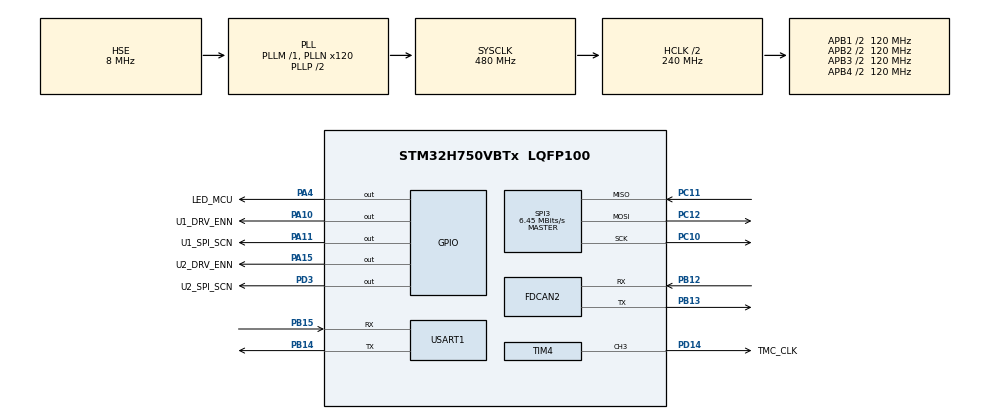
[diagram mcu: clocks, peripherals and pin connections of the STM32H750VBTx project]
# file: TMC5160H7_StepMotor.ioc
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CORTEX_M7.default_mode_Activation=1
FDCAN2.AutoRetransmission=ENABLE
FDCAN2.CalculateBaudRateNominal=500000
FDCAN2.CalculateTimeBitNominal=2000
FDCAN2.CalculateTimeQuantumNominal=125.0
FDCAN2.NominalPrescaler=1
FDCAN2.NominalTimeSeg1=13
FDCAN2.NominalTimeSeg2=2
Mcu.Family=STM32H7
Mcu.Name=STM32H750VBTx
Mcu.Package=LQFP100
NVIC.PriorityGroup=NVIC_PRIORITYGROUP_4
PA10.GPIO_Label=U1_DRV_ENN
PA10.GPIO_Speed=GPIO_SPEED_FREQ_HIGH
PA10.PinState=GPIO_PIN_SET
PA10.Signal=GPIO_Output
PA11.GPIO_Label=U1_SPI_SCN
PA11.GPIO_Speed=GPIO_SPEED_FREQ_HIGH
PA11.PinState=GPIO_PIN_SET
PA11.Signal=GPIO_Output
PA13\ (JTMS/SWDIO).Mode=Serial_Wire
PA13\ (JTMS/SWDIO).Signal=DEBUG_JTMS-SWDIO
PA14\ (JTCK/SWCLK).Mode=Serial_Wire
PA14\ (JTCK/SWCLK).Signal=DEBUG_JTCK-SWCLK
PA15\ (JTDI).GPIO_Label=U2_DRV_ENN
PA15\ (JTDI).GPIO_Speed=GPIO_SPEED_FREQ_HIGH
PA15\ (JTDI).PinState=GPIO_PIN_SET
PA15\ (JTDI).Signal=GPIO_Output
PA4.GPIO_Label=LED_MCU
PA4.PinState=GPIO_PIN_SET
PA4.Signal=GPIO_Output
PB12.Mode=FDCAN_Activate
PB12.Signal=FDCAN2_RX
PB13.Mode=FDCAN_Activate
PB13.Signal=FDCAN2_TX
PB14.Mode=Asynchronous
PB14.Signal=USART1_TX
PB15.Mode=Asynchronous
PB15.Signal=USART1_RX
PC10.Mode=Full_Duplex_Master
PC10.Signal=SPI3_SCK
PC11.Mode=Full_Duplex_Master
PC11.Signal=SPI3_MISO
PC12.Mode=Full_Duplex_Master
PC12.Signal=SPI3_MOSI
PD14.GPIO_Label=TMC_CLK
PD14.GPIO_Speed=GPIO_SPEED_FREQ_VERY_HIGH
PD14.Signal=S_TIM4_CH3
PD3.GPIO_Label=U2_SPI_SCN
PD3.GPIO_Speed=GPIO_SPEED_FREQ_HIGH
PD3.PinState=GPIO_PIN_SET
PD3.Signal=GPIO_Output
PH0-OSC_IN\ (PH0).Mode=HSE-External-Oscillator
PH0-OSC_IN\ (PH0).Signal=RCC_OSC_IN
PH1-OSC_OUT\ (PH1).Mode=HSE-External-Oscillator
PH1-OSC_OUT\ (PH1).Signal=RCC_OSC_OUT
ProjectManager.HeapSize=0x200
ProjectManager.StackSize=0x400
ProjectManager.TargetToolchain=CMake
RCC.ADCFreq_Value=16125000
RCC.APB1Freq_Value=120000000
RCC.APB2Freq_Value=120000000
RCC.APB3Freq_Value=120000000
RCC.APB4Freq_Value=120000000
RCC.CortexFreq_Value=480000000
RCC.D1PPRE=RCC_APB3_DIV2
RCC.D2PPRE1=RCC_APB1_DIV2
RCC.D2PPRE2=RCC_APB2_DIV2
RCC.D3PPRE=RCC_APB4_DIV2
RCC.DIVM1=1
RCC.DIVM3=5
RCC.DIVN1=120
RCC.FDCANCLockSelection=RCC_FDCANCLKSOURCE_HSE
RCC.HCLKFreq_Value=240000000
RCC.HPRE=RCC_HCLK_DIV2
RCC.HSE_VALUE=8000000
RCC.PLL2FRACN=0
RCC.PLL3FRACN=0
RCC.PLLFRACN=0
RCC.PLLSourceVirtual=RCC_PLLSOURCE_HSE
RCC.PWR_Regulator_Voltage_Scale=PWR_REGULATOR_VOLTAGE_SCALE0
RCC.SPI123CLockSelection=RCC_SPI123CLKSOURCE_PLL3
RCC.SYSCLKFreq_VALUE=480000000
RCC.SYSCLKSource=RCC_SYSCLKSOURCE_PLLCLK
RCC.USART16CLockSelection=RCC_USART16CLKSOURCE_HSI
RCC.USBFreq_Value=480000000
SH.S_TIM4_CH3.0=TIM4_CH3,PWM Generation3 CH3
SPI3.BaudRatePrescaler=SPI_BAUDRATEPRESCALER_16
SPI3.CLKPhase=SPI_PHASE_2EDGE
SPI3.CLKPolarity=SPI_POLARITY_HIGH
SPI3.CalculateBaudRate=6.45 MBits/s
SPI3.DataSize=SPI_DATASIZE_8BIT
SPI3.Direction=SPI_DIRECTION_2LINES
SPI3.Mode=SPI_MODE_MASTER
SPI3.VirtualType=VM_MASTER
TIM4.Channel-PWM\ Generation3\ CH3=TIM_CHANNEL_3
TIM4.Period=15
TIM4.Prescaler=0
TIM4.Pulse-PWM\ Generation3\ CH3=8
USART1.VirtualMode-Asynchronous=VM_ASYNC
VP_MEMORYMAP_VS_MEMORYMAP.Mode=CurAppReg
VP_TIM4_VS_ClockSourceINT.Mode=Internal
board=custom

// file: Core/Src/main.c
/* USER CODE BEGIN Header */
/**
  ******************************************************************************
  * @file           : main.c
  * @brief          : Main program body
  ******************************************************************************
  * @attention
  *
  * Copyright (c) 2026 STMicroelectronics.
  * All rights reserved.
  *
  * This software is licensed under terms that can be found in the LICENSE file
  * in the root directory of this software component.
  * If no LICENSE file comes with this software, it is provided AS-IS.
  *
  ******************************************************************************
  */
/* USER CODE END Header */
#include "main.h"
#include "fdcan.h"
#include "spi.h"
#include "tim.h"
#include "usart.h"
#include "gpio.h"

/* USER CODE BEGIN Includes */
#include "algo/queue.h"
#include "drv/can.h"
#include "drv/uart_dbg.h"
#include "drv/rtt_dbg.h"
#include "drv/tmc5160.h"
#include "app/motor_ctrl.h"
#include "app/closed_loop.h"
#include "app/comm_test.h"
#include "tim_test.h"
/* USER CODE END Includes */

/* USER CODE BEGIN PV */
/* 闭环节拍标志：预留（目标板无 TIM7，闭环 Tick 暂未启用，与源工程行为等价） */
volatile uint8_t g_cl_tick_flag = 0;
/* USER CODE END PV */

void SystemClock_Config(void);
void PeriphCommonClock_Config(void);
static void MPU_Config(void);

int main(void)
{

  /* MPU Configuration--------------------------------------------------------*/
  MPU_Config();

  /* MCU Configuration--------------------------------------------------------*/

  /* Reset of all peripherals, Initializes the Flash interface and the Systick. */
  HAL_Init();

  /* Configure the system clock */
  SystemClock_Config();

  /* Configure the peripherals common clocks */
  PeriphCommonClock_Config();

  /* Initialize all configured peripherals */
  MX_GPIO_Init();
  MX_FDCAN2_Init();
  MX_SPI3_Init();
  MX_TIM4_Init();
  MX_USART1_UART_Init();
  /* USER CODE BEGIN 2 */
  /* TMC5160 外部时钟: TIM4_CH3 PWM 输出 15MHz (TIM4CLK=240MHz/(PSC=0)/(ARR=15+1))
   * 必须在 USR_TMC5160_Init 前启动，否则芯片无 fCLK 不工作 */
  HAL_TIM_PWM_Start(&htim4, TIM_CHANNEL_3);

  QUEUE_Init(&g_queue_st);
  DRV_CAN_Init();
  USR_CAN_Init();
  USR_TMC5160_Init();
  USR_MOTOR_Init();
  USR_CLOSEDLOOP_Init();
  UART_DBG_Init();
  //RTT_DBG_Init(); // RTT初始化
  UART_DBG_Str("UART ready 115200\r\n");
  RTT_DBG_Str("RTT ready\r\n");
  UART_DBG_Str("[BOOT] TMC5160H7 StepMotor\r\n");
  RTT_DBG_Str("[BOOT] TMC5160H7 StepMotor\r\n");
#ifdef CL_TIMING_MEASURE
  TEST_TIM_Init();
  TEST_SPI_SaleaeTriggerInit();
  UART_DBG_Str("[SALEAE] 3-wire SCK PC10 MOSI PC12 MISO PC11 TRIG PA4\r\n");
#endif

  /* == 测试函数 == */
  /* 上电 SPI 自检：双芯 GSTAT/DRVSTATUS 回读，串口+RTT 双通道输出判据 */
  // COMM_Test_SPI();
#if SPI_SOAK
  /* SPI 位保真浸泡诊断（2026-09-10 电机排查轮，实现见 app/comm_test.c；
   * 含 U2 速度模式运转 10s，结束自动停并恢复 ENC_CONST；生产版置 0） */
  COMM_Test_SPI_Soak();
#endif

  /* USER CODE END 2 */

  /* Infinite loop */
  /* USER CODE BEGIN WHILE */
  while (1)
  {
#ifdef CL_TIMING_MEASURE
    /* 3-wire Saleae 连续触发: 每 10ms 一次 U2 GSTAT 读, PA4 窄脉冲作同步 */
    {
        static uint32_t s_saleae_last = 0;
        if ((HAL_GetTick() - s_saleae_last) >= 10)
        {
            s_saleae_last = HAL_GetTick();
            TEST_SPI_SaleaePulse();
            (void)DRV_TMC5160_ReadReg(TMC5160_CHIP_2, 0x01); /* GSTAT */
        }
    }
#endif
    USR_CAN_Process();
    COMM_Test_CAN_Heartbeat();
    /* 双通道心跳遥测：1Hz 打印双电机实际/编码器位置 (USART1 115200 + RTT) */
    {
      static uint32_t s_rtt_last_tick = 0;
      uint32_t now = HAL_GetTick();
      if ((now - s_rtt_last_tick) >= 1000)
      {
        s_rtt_last_tick = now;
        /* U2 追加运动诊断量: v=VACTUAL(0x22) rs=RAMP_STAT cs=CS_ACTUAL[9:0]
         * ds=DRV_STATUS(OL/OT/S2 位) gs=GSTAT —— 遥测先行定位抖动 (retrieval.md) */
        {
          TMC5160_CHIP_T *u2 = USR_MOTOR_GetChip(MOTOR_CTRL_U2);
          uint32_t ds = USR_TMC5160_GetDrvStatus(u2);
          UART_DBG_Printf("[t=%u] U1 act=%d enc=%d | U2 act=%d enc=%d "
                          "v=%d rs=%lX cs=%lu ds=%08lX gs=%02X\r\n",
                          (unsigned)now,
                          (int)USR_MOTOR_GetPosition(MOTOR_CTRL_U1),
                          (int)USR_MOTOR_GetEncoderPosition(MOTOR_CTRL_U1),
                          (int)USR_MOTOR_GetPosition(MOTOR_CTRL_U2),
                          (int)USR_MOTOR_GetEncoderPosition(MOTOR_CTRL_U2),
                          (int)USR_TMC5160_GetVelocity(u2),
                          (unsigned long)USR_TMC5160_GetRampStat(u2),
                          (unsigned long)(ds & 0x3FFUL),
                          (unsigned long)ds,
                          (unsigned int)USR_TMC5160_GetGStat(u2));
        }
        RTT_DBG_Printf("[t=%u] U1 act=%d enc=%d | U2 act=%d enc=%d\r\n",
                       (unsigned)now,
                       (int)USR_MOTOR_GetPosition(MOTOR_CTRL_U1),
                       (int)USR_MOTOR_GetEncoderPosition(MOTOR_CTRL_U1),
                       (int)USR_MOTOR_GetPosition(MOTOR_CTRL_U2),
                       (int)USR_MOTOR_GetEncoderPosition(MOTOR_CTRL_U2));
      }
    }

    /* 闭环控制：目标板无 TIM7 节拍定时器，保持注释态（与源工程行为等价） */
    // if (g_cl_tick_flag)
    // {
    //   g_cl_tick_flag = 0;
    //   USR_CLOSEDLOOP_Tick(MOTOR_CTRL_U1);
    //   USR_CLOSEDLOOP_Tick(MOTOR_CTRL_U2);
    // }

    /* 配置持久化（stub：H750 无可用持久化介质，仅清标志） */
    USR_TMC5160_SaveConfig();
    /* USER CODE END WHILE */

  }
}

void SystemClock_Config(void)
{
  RCC_OscInitTypeDef RCC_OscInitStruct = {0};
  RCC_ClkInitTypeDef RCC_ClkInitStruct = {0};

  /** Supply configuration update enable
  */
  HAL_PWREx_ConfigSupply(PWR_LDO_SUPPLY);

  /** Configure the main internal regulator output voltage
  */
  __HAL_PWR_VOLTAGESCALING_CONFIG(PWR_REGULATOR_VOLTAGE_SCALE0);

  while(!__HAL_PWR_GET_FLAG(PWR_FLAG_VOSRDY)) {}

  /** Initializes the RCC Oscillators according to the specified parameters
  * in the RCC_OscInitTypeDef structure.
  */
  RCC_OscInitStruct.OscillatorType = RCC_OSCILLATORTYPE_HSI|RCC_OSCILLATORTYPE_HSE;
  RCC_OscInitStruct.HSEState = RCC_HSE_ON;
  RCC_OscInitStruct.HSIState = RCC_HSI_DIV1;
  RCC_OscInitStruct.HSICalibrationValue = RCC_HSICALIBRATION_DEFAULT;
  RCC_OscInitStruct.PLL.PLLState = RCC_PLL_ON;
  RCC_OscInitStruct.PLL.PLLSource = RCC_PLLSOURCE_HSE;
  RCC_OscInitStruct.PLL.PLLM = 1;
  RCC_OscInitStruct.PLL.PLLN = 120;
  RCC_OscInitStruct.PLL.PLLP = 2;
  RCC_OscInitStruct.PLL.PLLQ = 2;
  RCC_OscInitStruct.PLL.PLLR = 2;
  RCC_OscInitStruct.PLL.PLLRGE = RCC_PLL1VCIRANGE_3;
  RCC_OscInitStruct.PLL.PLLVCOSEL = RCC_PLL1VCOWIDE;
  RCC_OscInitStruct.PLL.PLLFRACN = 0;
  if (HAL_RCC_OscConfig(&RCC_OscInitStruct) != HAL_OK)
  {
    Error_Handler();
  }

  /** Initializes the CPU, AHB and APB buses clocks
  */
  RCC_ClkInitStruct.ClockType = RCC_CLOCKTYPE_HCLK|RCC_CLOCKTYPE_SYSCLK
                              |RCC_CLOCKTYPE_PCLK1|RCC_CLOCKTYPE_PCLK2
                              |RCC_CLOCKTYPE_D3PCLK1|RCC_CLOCKTYPE_D1PCLK1;
  RCC_ClkInitStruct.SYSCLKSource = RCC_SYSCLKSOURCE_PLLCLK;
  RCC_ClkInitStruct.SYSCLKDivider = RCC_SYSCLK_DIV1;
  RCC_ClkInitStruct.AHBCLKDivider = RCC_HCLK_DIV2;
  RCC_ClkInitStruct.APB3CLKDivider = RCC_APB3_DIV2;
  RCC_ClkInitStruct.APB1CLKDivider = RCC_APB1_DIV2;
  RCC_ClkInitStruct.APB2CLKDivider = RCC_APB2_DIV2;
  RCC_ClkInitStruct.APB4CLKDivider = RCC_APB4_DIV2;

  if (HAL_RCC_ClockConfig(&RCC_ClkInitStruct, FLASH_LATENCY_4) != HAL_OK)
  {
    Error_Handler();
  }
}

void PeriphCommonClock_Config(void)
{
  RCC_PeriphCLKInitTypeDef PeriphClkInitStruct = {0};

  /** Initializes the peripherals clock
  */
  PeriphClkInitStruct.PeriphClockSelection = RCC_PERIPHCLK_CKPER;
  PeriphClkInitStruct.CkperClockSelection = RCC_CLKPSOURCE_HSI;
  if (HAL_RCCEx_PeriphCLKConfig(&PeriphClkInitStruct) != HAL_OK)
  {
    Error_Handler();
  }
}

 /* MPU Configuration */

void MPU_Config(void)
{
  MPU_Region_InitTypeDef MPU_InitStruct = {0};

  /* Disables the MPU */
  HAL_MPU_Disable();

  /** Initializes and configures the Region and the memory to be protected
  */
  MPU_InitStruct.Enable = MPU_REGION_ENABLE;
  MPU_InitStruct.Number = MPU_REGION_NUMBER0;
  MPU_InitStruct.BaseAddress = 0x0;
  MPU_InitStruct.Size = MPU_REGION_SIZE_4GB;
  MPU_InitStruct.SubRegionDisable = 0x87;
  MPU_InitStruct.TypeExtField = MPU_TEX_LEVEL0;
  MPU_InitStruct.AccessPermission = MPU_REGION_NO_ACCESS;
  MPU_InitStruct.DisableExec = MPU_INSTRUCTION_ACCESS_DISABLE;
  MPU_InitStruct.IsShareable = MPU_ACCESS_SHAREABLE;
  MPU_InitStruct.IsCacheable = MPU_ACCESS_NOT_CACHEABLE;
  MPU_InitStruct.IsBufferable = MPU_ACCESS_NOT_BUFFERABLE;

  HAL_MPU_ConfigRegion(&MPU_InitStruct);
  /* Enables the MPU */
  HAL_MPU_Enable(MPU_PRIVILEGED_DEFAULT);

}

void Error_Handler(void)
{
  __disable_irq();
  while (1)
  {
  }
}
